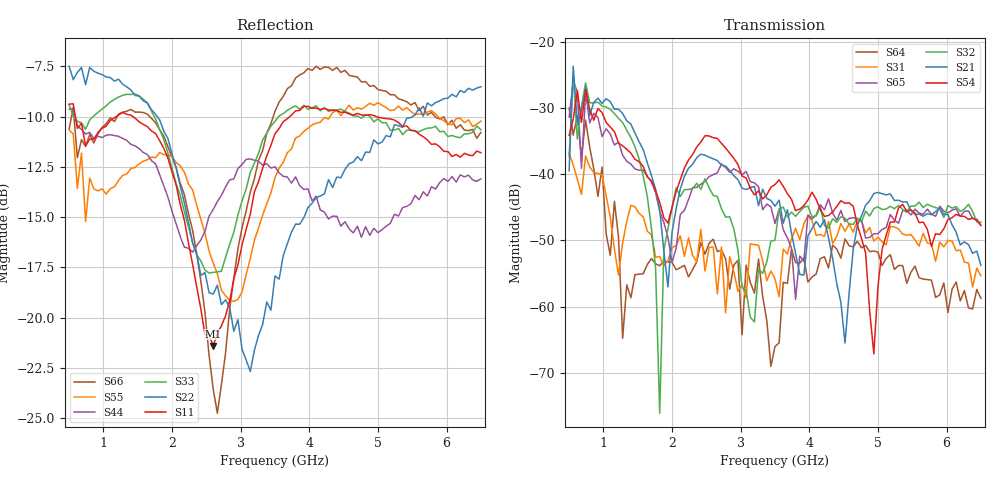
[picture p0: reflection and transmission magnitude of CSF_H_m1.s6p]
!Keysight Technologies,M9804A,MY58100912,A.14.10.03
!Date: Thursday, April 27, 2023 10:28:33
!Correction: S11(C  6-Port  )
!S12(C  6-Port  )
!S13(C  6-Port  )
!S14(C  6-Port  )
!S15(C  6-Port  )
!S16(C  6-Port  )
!S21(C  6-Port  )
!S22(C  6-Port  )
!S23(C  6-Port  )
!S24(C  6-Port  )
!S25(C  6-Port  )
!S26(C  6-Port  )
!S31(C  6-Port  )
!S32(C  6-Port  )
!S33(C  6-Port  )
!S34(C  6-Port  )
!S35(C  6-Port  )
!S36(C  6-Port  )
!S41(C  6-Port  )
!S42(C  6-Port  )
!S43(C  6-Port  )
!S44(C  6-Port  )
!S45(C  6-Port  )
!S46(C  6-Port  )
!S51(C  6-Port  )
!S52(C  6-Port  )
!S53(C  6-Port  )
!S54(C  6-Port  )
!S55(C  6-Port  )
!S56(C  6-Port  )
!S61(C  6-Port  )
!S62(C  6-Port  )
!S63(C  6-Port  )
!S64(C  6-Port  )
!S65(C  6-Port  )
!S66(C  6-Port  )
!S6P File: Measurement: :
# Hz S  RI  R 50
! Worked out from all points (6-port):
!   101 points, 500 MHz to 6.5 GHz, reference 50 ohm
!   strongest paths, dB at 500 MHz, 2 GHz, 3.5 GHz, 5 GHz, 6.5 GHz:
!     S54: -34.1, -45.0, -41.5, -57.0, -47.7
!     S21: -39.4, -48.7, -44.8, -42.7, -53.8
!     S32: -37.3, -45.0, -50.0, -44.9, -47.2
!     S65: -31.3, -53.3, -47.4, -49.0, -47.7
!     S31: -36.8, -51.1, -55.8, -49.5, -55.3
!     S64: -29.9, -53.3, -66.1, -51.8, -58.7
!   lowest |S11| = -21.4 dB at 2.6 GHz (marker M1), VSWR 1.19, Z = 42.5 + j2.26 ohm
!   |S11| at or under -10 dB: 591.1 MHz to 1.186 GHz (594.8 MHz wide, 66.9 % of centre); 1.429 GHz to 3.716 GHz (2.287 GHz wide, 88.9 % of centre); 4.977 GHz to end of sweep
